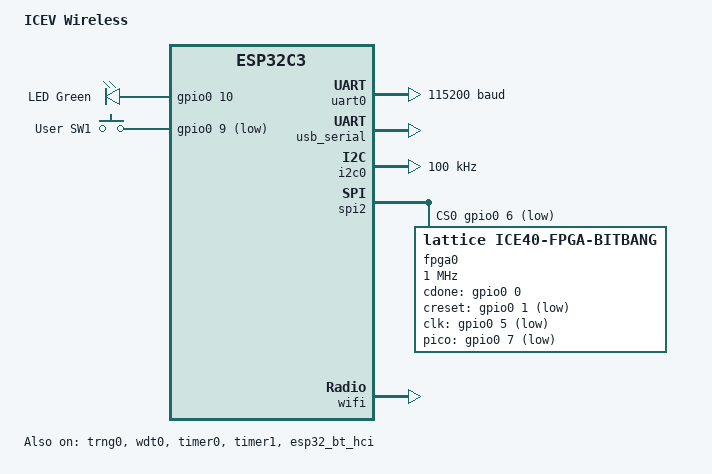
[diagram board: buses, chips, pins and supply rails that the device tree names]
/*
 * Copyright (c) 2022 Friedt Professional Engineering Services, Inc
 *
 * SPDX-License-Identifier: Apache-2.0
 */

/dts-v1/;

#include <espressif/esp32c3/esp32c3_fx4.dtsi>
#include "icev_wireless-pinctrl.dtsi"
#include <zephyr/dt-bindings/input/input-event-codes.h>
#include <espressif/partitions_0x0_default.dtsi>

/ {
	model = "ICEV Wireless";
	compatible = "espressif,esp32c3";

	chosen {
		zephyr,sram = &sram1;
		zephyr,console = &usb_serial;
		zephyr,shell-uart = &usb_serial;
		zephyr,flash = &flash0;
		zephyr,code-partition = &slot0_partition;
		zephyr,bt-hci = &esp32_bt_hci;
	};

	aliases {
		led0 = &led_green;
		i2c-0 = &i2c0;
		sw0 = &user_button1;
		watchdog0 = &wdt0;
	};

	leds {
		compatible = "gpio-leds";
		led_green: led_0 {
			gpios = <&gpio0 10 GPIO_ACTIVE_HIGH>;
			label = "LED Green";
		};
	};

	gpio_keys {
		compatible = "gpio-keys";
		user_button1: button_1 {
			label = "User SW1";
			gpios = <&gpio0 9 (GPIO_PULL_UP | GPIO_ACTIVE_LOW)>;
			zephyr,code = <INPUT_KEY_0>;
		};
	};
};

&uart0 {
	current-speed = <115200>;
	pinctrl-0 = <&uart0_default>;
	pinctrl-names = "default";
};

&usb_serial {
	status = "okay";
};

&i2c0 {
	clock-frequency = <I2C_BITRATE_STANDARD>;
	pinctrl-0 = <&i2c0_default>;
	pinctrl-names = "default";
	status = "okay";
};

&trng0 {
	status = "okay";
};

&spi2 {
	status = "okay";
	#address-cells = <1>;
	#size-cells = <0>;
	pinctrl-0 = <&spim2_default>;
	pinctrl-names = "default";

	cs-gpios = <&gpio0 6 (GPIO_PUSH_PULL | GPIO_ACTIVE_LOW)>;

	fpga0: fpga@0 {
		status = "okay";
		compatible = "lattice,ice40-fpga-bitbang";

		reg = <0>;
		spi-max-frequency = <1000000>;

		cdone-gpios = <&gpio0 0 0>;
		creset-gpios = <&gpio0 1 (GPIO_PUSH_PULL | GPIO_ACTIVE_LOW)>;
		clk-gpios = <&gpio0 5 (GPIO_PUSH_PULL | GPIO_ACTIVE_LOW)>;
		pico-gpios = <&gpio0 7 (GPIO_PUSH_PULL | GPIO_ACTIVE_LOW)>;
		mhz-delay-count = <4>;
		gpios-set-reg = <0x60004008>;
		gpios-clear-reg = <0x6000400c>;
		config-delay-us = <2000>;
		leading-clocks = <8>;
		trailing-clocks = <160>;
	};
};

&gpio0 {
	status = "okay";
};

&wdt0 {
	status = "okay";
};

&timer0 {
	status = "okay";
};

&timer1 {
	status = "okay";
};

&esp32_bt_hci {
	status = "okay";
};

&wifi {
	status = "okay";
};
